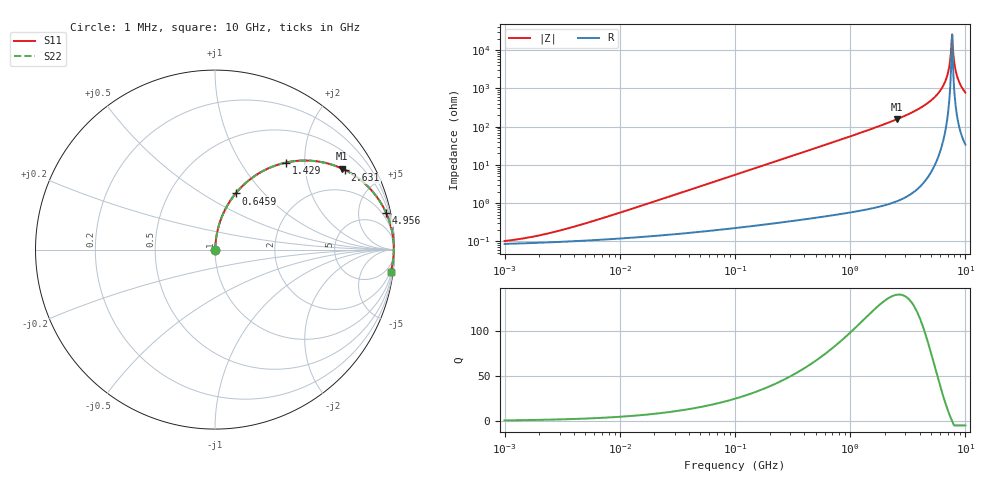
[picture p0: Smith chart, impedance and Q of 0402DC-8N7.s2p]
# MHz  S  MA  R  50
!Freq  MagS11  AngS11  MagS21  AngS21  MagS12  AngS12  MagS22  AngS22
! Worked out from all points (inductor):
!   801 points, 1 MHz to 10 GHz, reference 50 ohm
!   read as one part in series: L = 8.7 nH near 5.889 MHz
!   highest Q = 140 at 2.542 GHz (marker M1), where L = 9.78 nH
!   self-resonance near 7.589 GHz
!   S11 on the Smith chart (normalised r, x): 1 MHz: 1.00, +0.00; 645.9 MHz: 1.01, +0.71; 1.429 GHz: 1.01, +1.62; 2.631 GHz: 1.02, +3.26; 4.956 GHz: 1.12, +9.32; 10 GHz: 2, -16
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1  0.001011 32.7  0.9991 -0.0  0.9991 -0.0  0.001011 32.7
2.041806  0.001442 50.6  0.9991 -0.1  0.9991 -0.1  0.001442 50.6
4.67769  0.002753 68.0  0.999 -0.1  0.999 -0.1  0.002753 68.0
21.6303  0.01189 82.6  0.9985 -0.7  0.9985 -0.7  0.01189 82.6
100.0216  0.05453 84.6  0.9963 -3.1  0.9963 -3.1  0.05453 84.6
467.8699  0.2478 74.8  0.965 -14.3  0.965 -14.3  0.2478 74.8
645.85  0.3337 69.8  0.9384 -19.5  0.9384 -19.5  0.3337 69.8
1429.38  0.6266 50.7  0.774 -38.8  0.774 -38.8  0.6266 50.7
2163.497  0.7864 37.7  0.6119 -51.9  0.6119 -51.9  0.7864 37.7
2541.906  0.8394 32.5  0.5376 -57.1  0.5376 -57.1  0.8394 32.5
2631.239  0.8498 31.4  0.5211 -58.2  0.5211 -58.2  0.8498 31.4
4956.478  0.9752 12.1  0.2093 -77.2  0.2093 -77.2  0.9752 12.1
5823.397  0.9885 7.5  0.1312 -81.2  0.1312 -81.2  0.9885 7.5
6533.995  0.994 4.4  0.07597 -83.3  0.07597 -83.3  0.994 4.4
7001.324  0.9957 2.5  0.04307 -83.1  0.04307 -83.1  0.9957 2.5
7416.199  0.9963 0.9  0.01593 -76.1  0.01593 -76.1  0.9963 0.9
7676.832  0.9963 -0.1  0.003853 13.6  0.003853 13.6  0.9963 -0.1
7946.626  0.9959 -1.0  0.01777 76.3  0.01777 76.3  0.9959 -1.0
8225.901  0.9953 -1.9  0.03401 81.1  0.03401 81.1  0.9953 -1.9
8613.594  0.9941 -3.2  0.05585 82.3  0.05585 82.3  0.9941 -3.2
9229.662  0.9912 -5.1  0.08872 81.8  0.08872 81.8  0.9912 -5.1
10000  0.9864 -7.3  0.127 80.2  0.127 80.2  0.9864 -7.3
